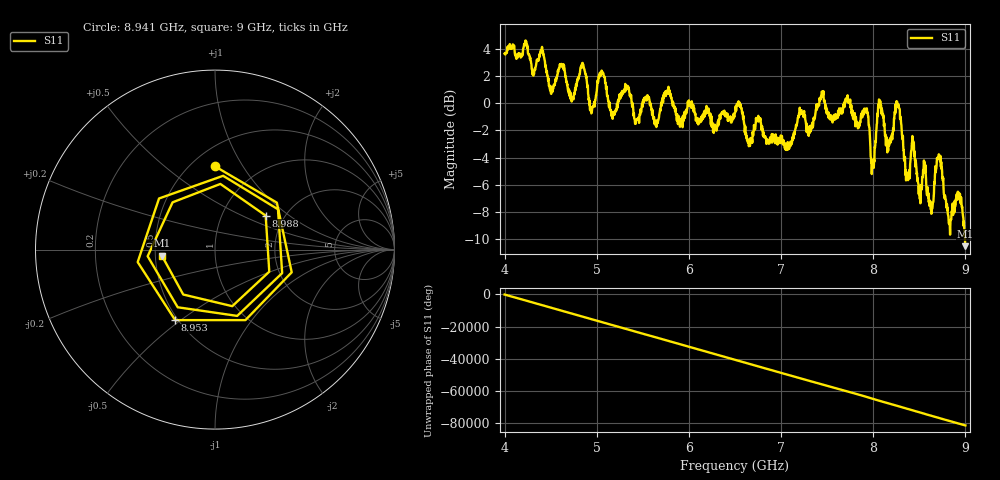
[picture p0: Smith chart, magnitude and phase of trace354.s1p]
! Created with skrf 1.8.0 (http://scikit-rf.org).
# Hz S RI R 50.0
!freq ReS11 ImS11
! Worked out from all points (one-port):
!   1601 points, 4 GHz to 9 GHz, reference 50 ohm
!   lowest |S11| = -10.5 dB at 9 GHz (marker M1), VSWR 1.85, Z = 27.1 - j1.99 ohm
!   |S11| at or under -10 dB: 8.995712 GHz to end of sweep
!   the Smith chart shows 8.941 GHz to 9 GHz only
!   S11 on the Smith chart (normalised r, x): 8.941 GHz: 0.65, +0.76; 8.953 GHz: 0.48, -0.48; 8.988 GHz: 1.61, +0.69; 9 GHz: 0.54, -0.04
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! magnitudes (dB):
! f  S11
! 4 GHz  3.7
! 4.403 GHz  4.0
! 4.506 GHz  0.7
! 4.625 GHz  2.7
! 4.731 GHz  0.4
! 4.853 GHz  2.8
! 4.944 GHz  -0.7
! 5.047 GHz  2.1
! 5.25 GHz  0.7
! 5.875 GHz  -0.9
! 6.5 GHz  -0.7
! 7.125 GHz  -2.7
! 7.441 GHz  0.8
! 7.75 GHz  0.3
! 7.925 GHz  -0.4
! 7.994 GHz  -4.5
! 8.069 GHz  0.2
! 8.162 GHz  -3.5
! 8.266 GHz  -0.2
! 8.375 GHz  -5.6
! 8.431 GHz  -2.9
! 8.628 GHz  -7.5
! 8.712 GHz  -3.8
! 8.822 GHz  -8.9
! 8.941 GHz  -6.7
! 8.953 GHz  -6.9
! 8.988 GHz  -9.4
! 9 GHz  -10.5
